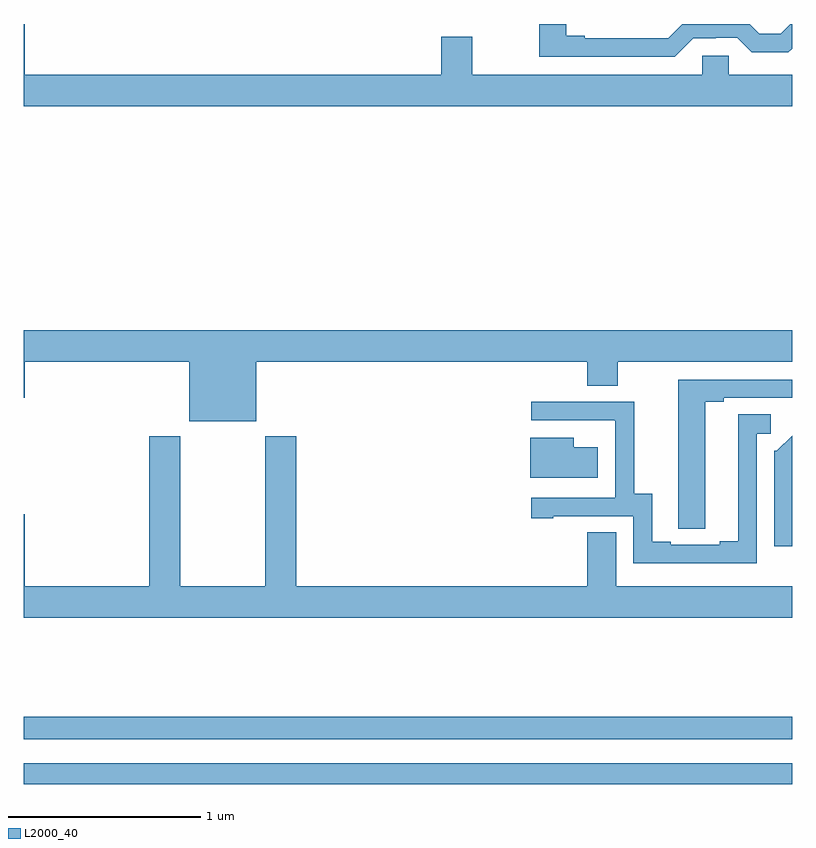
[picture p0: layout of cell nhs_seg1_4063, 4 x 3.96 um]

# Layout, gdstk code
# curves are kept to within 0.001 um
import gdstk
lib = gdstk.Library(unit=1e-6, precision=1e-09)
def R(c, l, rs):  # rectangles x0, y0, x1, y1
    for r in rs: c.add(gdstk.rectangle(r[:2], r[2:], *l))
def P(c, l, *ps):  # polygons
    for p in ps: c.add(gdstk.Polygon(p, *l))
L2000_40 = (2000, 40)

nhs_seg1_4063 = lib.new_cell('nhs_seg1_4063')
R(nhs_seg1_4063, L2000_40, [(333,508.242,337,508.35), (333,508.476,337,508.592)])
P(nhs_seg1_4063, L2000_40, [(336.486,512.124),(336.602,512.124),(336.602,512.127),(336.714,512.127),(336.79,512.051),(336.98,512.051),(337,512.071),(337,512.199),(336.99,512.199),(336.94,512.149),(336.83,512.149),(336.78,512.199),(336.429,512.199),(336.355,512.125),(336.251,512.124),(335.92,512.124),(335.92,512.139),(335.824,512.139),(335.824,512.199),(335.684,512.199),(335.684,512.028),(336.39,512.028)],
  [(337,511.936),(336.669,511.936),(336.669,512.034),(336.531,512.034),(336.531,511.936),(335.334,511.936),(335.334,512.132),(335.174,512.132),(335.174,511.936),(333.004,511.936),(333.004,512.199),(333,512.199),(333,511.772),(337,511.772)],
  [(334.21,510.44),(335.933,510.44),(335.933,510.316),(336.093,510.316),(336.093,510.44),(337,510.44),(337,510.604),(333,510.604),(333,510.252),(333.004,510.252),(333.004,510.44),(333.86,510.44),(333.86,510.131),(334.21,510.131)],
  [(336.547,510.232),(336.643,510.232),(336.643,510.252),(337,510.252),(337,510.348),(336.407,510.348),(336.407,509.68),(336.408,509.68),(336.408,509.572),(336.547,509.572)],
  [(336.816,510.066),(336.889,510.066),(336.889,510.167),(336.719,510.167),(336.719,509.507),(336.623,509.507),(336.623,509.487),(336.367,509.487),(336.367,509.502),(336.271,509.502),(336.271,509.753),(336.177,509.753),(336.177,510.231),(335.643,510.231),(335.643,510.135),(336.077,510.135),(336.077,510.134),(336.078,510.134),(336.078,509.733),(335.643,509.733),(335.643,509.625),(335.755,509.625),(335.755,509.637),(336.174,509.637),(336.174,509.391),(336.816,509.391)],
  [(337,510.055),(336.921,509.976),(336.906,509.976),(336.906,509.48),(337,509.48)],
  [(337,509.272),(336.085,509.272),(336.085,509.552),(335.933,509.552),(335.933,509.272),(334.418,509.272),(334.418,510.052),(334.258,510.052),(334.258,509.272),(333.813,509.272),(333.813,510.052),(333.653,510.052),(333.653,509.272),(333.004,509.272),(333.004,509.647),(333,509.647),(333,509.108),(337,509.108)],
  [(335.989,509.995),(335.863,509.995),(335.863,510.046),(335.636,510.046),(335.636,509.837),(335.989,509.837)])

lib.write_gds('nhs_seg1_4063.gds')
